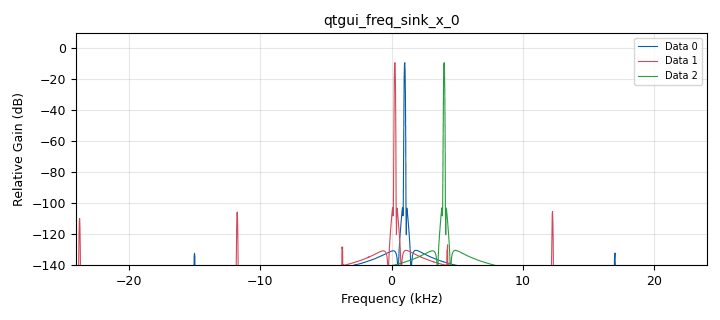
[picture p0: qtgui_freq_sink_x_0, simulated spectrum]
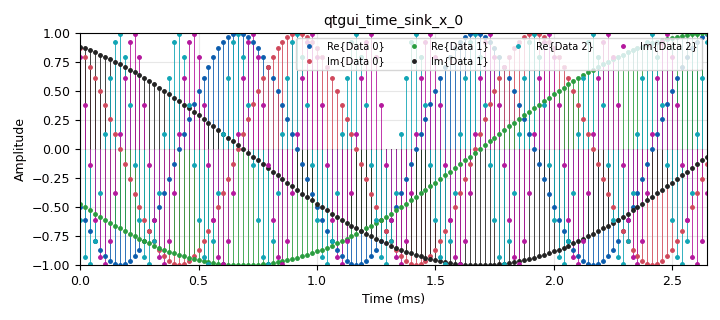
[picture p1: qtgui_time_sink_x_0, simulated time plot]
options:
  parameters:
    generate_options: qt_gui
    id: Punto_4
    output_language: python
    title: interpolado
  states: {}

blocks:
- name: freq
  id: variable_qtgui_range
  parameters:
    label: frequency
    orient: Qt.Horizontal
    start: '1000'
    step: '1000'
    stop: '40000'
    value: '4000'
  states: {}
- name: samp_rate
  id: variable
  parameters:
    value: '48000'
  states: {}
- name: analog_sig_source_x_0
  id: analog_sig_source_x
  parameters:
    amp: '1'
    freq: '1000'
    offset: '0'
    phase: '0'
    samp_rate: samp_rate
    type: complex
    waveform: analog.GR_COS_WAVE
  states: {}
- name: analog_sig_source_x_1
  id: analog_sig_source_x
  parameters:
    amp: '1'
    freq: '1000'
    offset: '0'
    phase: '0'
    samp_rate: samp_rate
    type: complex
    waveform: analog.GR_COS_WAVE
  states: {}
- name: analog_sig_source_x_2
  id: analog_sig_source_x
  parameters:
    amp: '1'
    freq: '1000'
    offset: '0'
    phase: '0'
    samp_rate: samp_rate
    type: complex
    waveform: analog.GR_COS_WAVE
  states: {}
- name: blocks_throttle_0
  id: blocks_throttle
  parameters:
    samples_per_second: samp_rate
    type: complex
  states: {}
- name: qtgui_freq_sink_x_0
  id: qtgui_freq_sink_x
  parameters:
    bw: samp_rate
    fc: '0'
    fftsize: '2048'
    nconnections: '3'
    type: complex
    wintype: firdes.WIN_BLACKMAN_hARRIS
  states: {}
- name: qtgui_time_sink_x_0
  id: qtgui_time_sink_x
  parameters:
    nconnections: '3'
    size: '128'
    srate: samp_rate
    stemplot: 'True'
    type: complex
  states: {}
- name: rational_resampler_xxx_0
  id: rational_resampler_xxx
  parameters:
    decim: '1'
    interp: '1'
    taps: ''
    type: ccc
  states: {}
- name: rational_resampler_xxx_1
  id: rational_resampler_xxx
  parameters:
    decim: '1'
    interp: '4'
    taps: ''
    type: ccc
  states: {}
- name: rational_resampler_xxx_2
  id: rational_resampler_xxx
  parameters:
    decim: '4'
    interp: '1'
    taps: ''
    type: ccc
  states: {}

connections:
- [analog_sig_source_x_0, '0', rational_resampler_xxx_0, '0']
- [analog_sig_source_x_1, '0', rational_resampler_xxx_1, '0']
- [analog_sig_source_x_2, '0', rational_resampler_xxx_2, '0']
- [blocks_throttle_0, '0', qtgui_freq_sink_x_0, '0']
- [blocks_throttle_0, '0', qtgui_time_sink_x_0, '0']
- [rational_resampler_xxx_0, '0', blocks_throttle_0, '0']
- [rational_resampler_xxx_1, '0', qtgui_freq_sink_x_0, '1']
- [rational_resampler_xxx_1, '0', qtgui_time_sink_x_0, '1']
- [rational_resampler_xxx_2, '0', qtgui_freq_sink_x_0, '2']
- [rational_resampler_xxx_2, '0', qtgui_time_sink_x_0, '2']

metadata:
  file_format: 1
